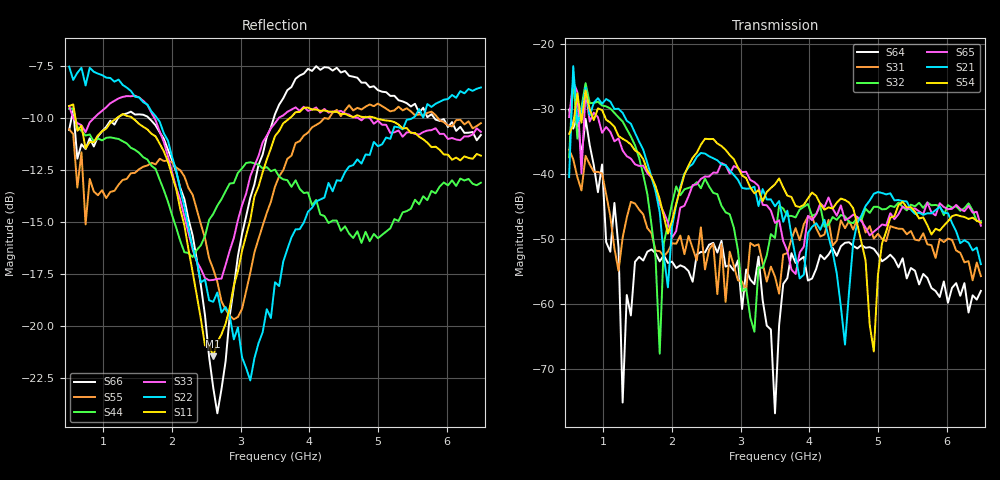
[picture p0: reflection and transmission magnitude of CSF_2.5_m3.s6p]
!Keysight Technologies,M9804A,MY58100912,A.14.10.03
!Date: Thursday, April 27, 2023 10:28:33
!Correction: S11(C  6-Port  )
!S12(C  6-Port  )
!S13(C  6-Port  )
!S14(C  6-Port  )
!S15(C  6-Port  )
!S16(C  6-Port  )
!S21(C  6-Port  )
!S22(C  6-Port  )
!S23(C  6-Port  )
!S24(C  6-Port  )
!S25(C  6-Port  )
!S26(C  6-Port  )
!S31(C  6-Port  )
!S32(C  6-Port  )
!S33(C  6-Port  )
!S34(C  6-Port  )
!S35(C  6-Port  )
!S36(C  6-Port  )
!S41(C  6-Port  )
!S42(C  6-Port  )
!S43(C  6-Port  )
!S44(C  6-Port  )
!S45(C  6-Port  )
!S46(C  6-Port  )
!S51(C  6-Port  )
!S52(C  6-Port  )
!S53(C  6-Port  )
!S54(C  6-Port  )
!S55(C  6-Port  )
!S56(C  6-Port  )
!S61(C  6-Port  )
!S62(C  6-Port  )
!S63(C  6-Port  )
!S64(C  6-Port  )
!S65(C  6-Port  )
!S66(C  6-Port  )
!S6P File: Measurement: :
# Hz S  RI  R 50
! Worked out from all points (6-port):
!   101 points, 500 MHz to 6.5 GHz, reference 50 ohm
!   strongest paths, dB at 500 MHz, 2 GHz, 3.5 GHz, 5 GHz, 6.5 GHz:
!     S54: -33.9, -47.2, -41.6, -55.5, -47.5
!     S21: -40.5, -48.1, -45.0, -42.8, -53.9
!     S65: -31.3, -49.8, -47.5, -48.4, -48.0
!     S32: -37.5, -44.5, -49.8, -45.1, -47.2
!     S31: -36.3, -50.7, -55.8, -49.2, -55.7
!     S64: -30.1, -53.5, -76.8, -52.3, -58.0
!   lowest |S11| = -21.5 dB at 2.6 GHz (marker M1), VSWR 1.18, Z = 42.5 + j2.15 ohm
!   |S11| at or under -10 dB: 591.5 MHz to 1.192 GHz (600.5 MHz wide, 67.3 % of centre); 1.428 GHz to 3.713 GHz (2.285 GHz wide, 88.9 % of centre); 4.972 GHz to end of sweep
